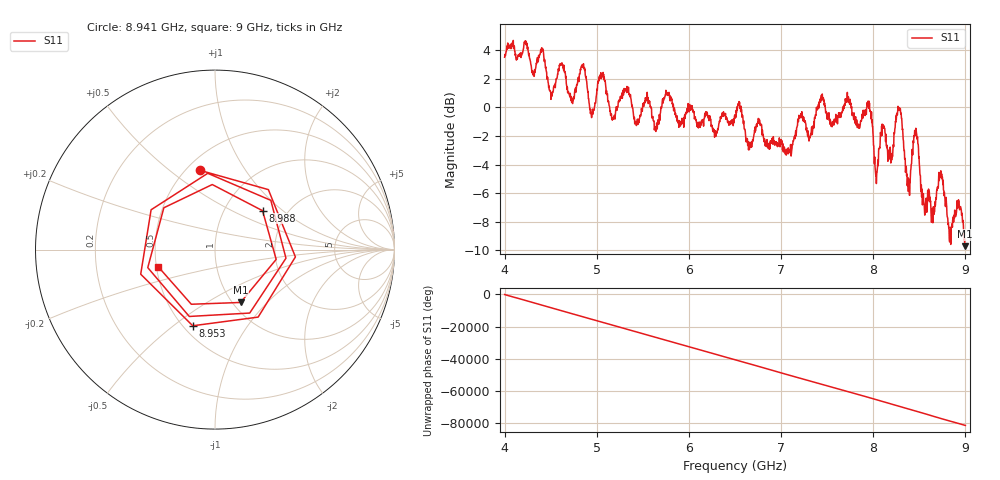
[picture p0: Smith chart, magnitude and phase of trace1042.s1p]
! Created with skrf 1.8.0 (http://scikit-rf.org).
# Hz S RI R 50.0
!freq ReS11 ImS11
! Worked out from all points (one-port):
!   1601 points, 4 GHz to 9 GHz, reference 50 ohm
!   lowest |S11| = -9.7 dB at 8.994 GHz (marker M1), VSWR 1.97, Z = 54.3 - j35.8 ohm
!   |S11| at or under -10 dB: nowhere
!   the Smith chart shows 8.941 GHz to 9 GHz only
!   S11 on the Smith chart (normalised r, x): 8.941 GHz: 0.58, +0.65; 8.953 GHz: 0.56, -0.59; 8.988 GHz: 1.50, +0.74; 9 GHz: 0.51, -0.11
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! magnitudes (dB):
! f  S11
! 4 GHz  3.5
! 4.403 GHz  4.2
! 4.503 GHz  0.6
! 4.625 GHz  3.0
! 4.731 GHz  0.5
! 4.853 GHz  3.0
! 4.947 GHz  -0.5
! 5.05 GHz  2.0
! 5.172 GHz  -0.7
! 5.25 GHz  0.4
! 5.875 GHz  -0.9
! 6.5 GHz  -0.7
! 7.125 GHz  -2.6
! 7.438 GHz  0.9
! 7.75 GHz  0.5
! 7.956 GHz  -0.1
! 8.034 GHz  -5.3
! 8.284 GHz  -0.1
! 8.375 GHz  -4.9
! 8.459 GHz  -2.0
! 8.559 GHz  -7.5
! 8.734 GHz  -4.4
! 8.834 GHz  -9.2
! 8.941 GHz  -7.0
! 8.953 GHz  -7.1
! 8.988 GHz  -9.3
! 8.994 GHz  -9.7
! 9 GHz  -9.6
